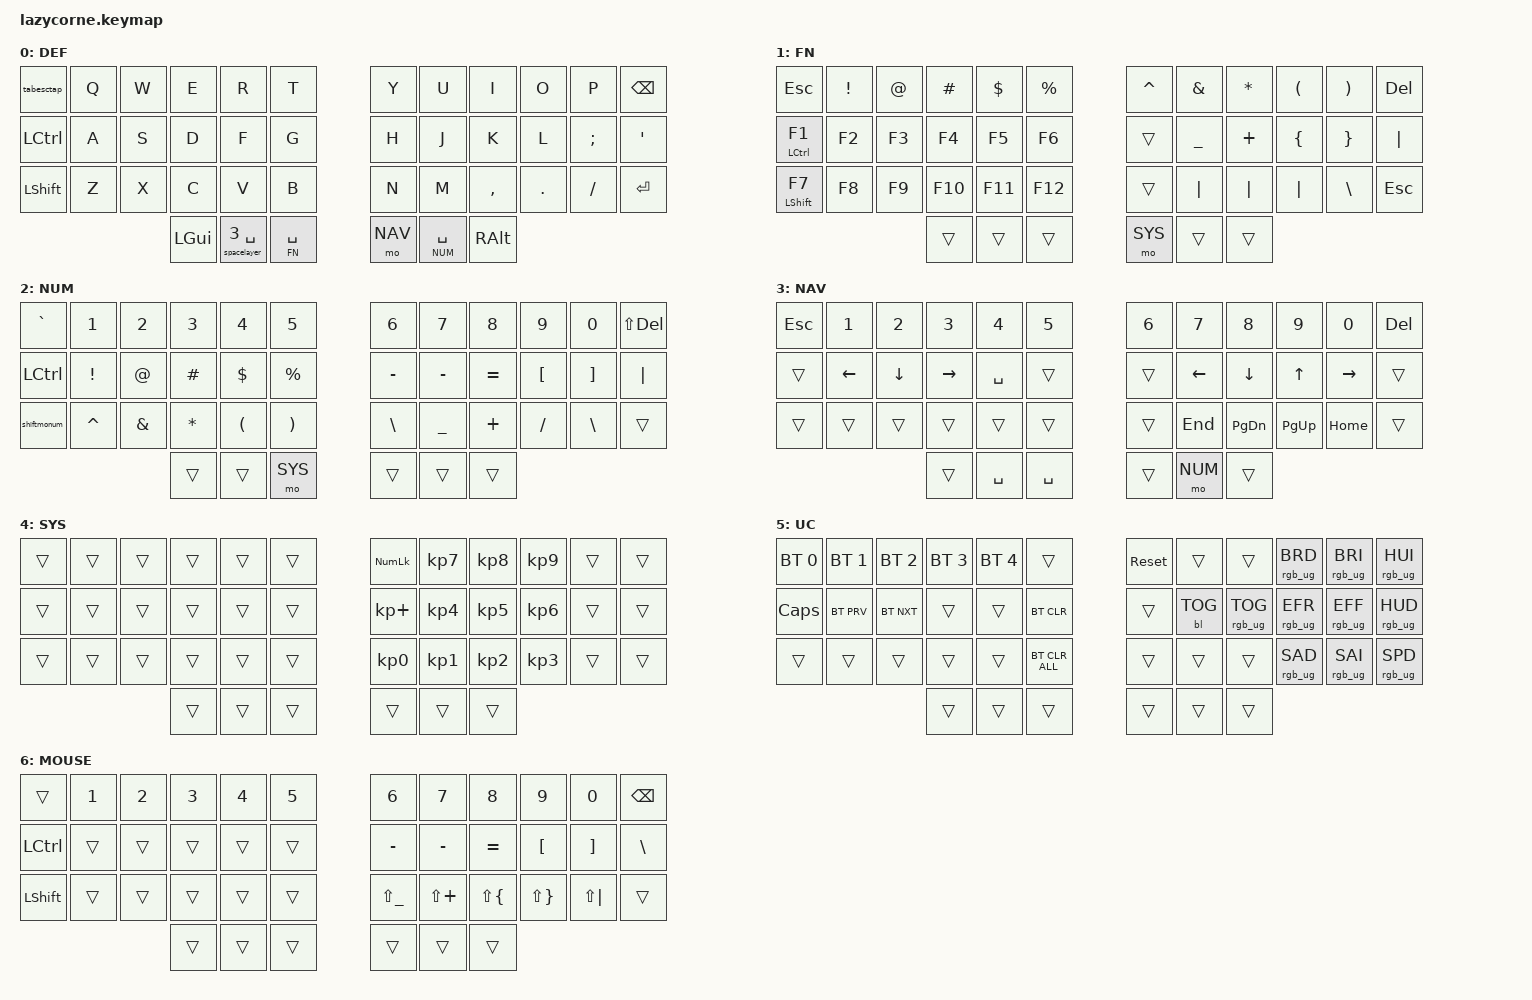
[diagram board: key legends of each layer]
#include <dt-bindings/zmk/outputs.h>
#include <behaviors.dtsi>
#include <dt-bindings/zmk/keys.h>

#define CONFIG_WIRELESS 1

#if CONFIG_WIRELESS
    #include <dt-bindings/zmk/bt.h>
    #define _BT_SEL_KEYS_ &bt BT_SEL 0 &bt BT_SEL 1 &bt BT_SEL 2 &bt BT_SEL 3 &bt BT_CLR
#else
    #define _BT_SEL_KEYS_ &trans &trans &trans &trans &trans
#endif

#define HOST_OS 1
#include "zmk-helpers/helper.h"
#include "zmk-helpers/key-labels/42.h"
#include "zmk-helpers/unicode-chars/greek.dtsi"
#include "zmk-helpers/unicode-chars/german.dtsi"

/* layer and key shortcuts */
#define DEF 0
#define NAV 1
#define FN 2
#define NUM 3
#define SYS 4
#define UC 5
#define MOUSE 6
#define MOUSEVS 7
#define MOUSEHS 8

#include "mouse.dtsi"
#include "combos.dtsi"

#define XXX &none
#define ___ &trans


/* Global settings */


/{
  cirque_mmv {
    compatible = "zmk,input-behavior-listener";
    device = <&vtrackpad>;
    layers= <DEF MOUSE>;
    evt-type = <INPUT_EV_REL>;
    x-input-code = <INPUT_REL_X>;
    y-input-code = <INPUT_REL_Y>;
    scale-multiplier = <2>;
    scale-divisor = <1>;
    bindings = <&ib_tog_layer MOUSE>;
    y-invert;
  }; 
  cirque_scl {
    compatible = "zmk,input-behavior-listener";
    device = <&vtrackpad>;
    layers = <MOUSEVS>;
    evt-type = <INPUT_EV_REL>;
    
    /* slienting x-axis with alt event code */
    x-input-code = <INPUT_REL_MISC>;
    y-input-code = <INPUT_REL_WHEEL>;

    /* invent scrolling direction */
    y-invert;
    bindings = <&ib_wheel_scaler 1 16>;
  };
  cirque_hscl {
    compatible = "zmk,input-behavior-listener";
    device = <&vtrackpad>;
    layers = <MOUSEHS>;
    evt-type = <INPUT_EV_REL>;
    
    /* slienting x-axis with alt event code */
    x-input-code = <INPUT_REL_HWHEEL>;
    y-input-code = <INPUT_REL_MISC>;

    /* invent scrolling direction */
    // y-invert;
    x-invert;
    bindings = <&ib_hwheel_scaler 1 16>;
  };
  // 아직 기능이 완벽하지 않음 터치를 하는동안 인식하는것이 아니라 움직임이 나타나야 인지함
  ib_tog_layer: ib_tog_layer {
    compatible = "zmk,input-behavior-tog-layer";
    #binding-cells = <1>;
    time-to-live-ms = <2500>;
  };
  ib_wheel_scaler: ib_wheel_scaler {
    compatible = "zmk,input-behavior-scaler";
    #binding-cells = <2>;
    evt-type = <INPUT_EV_REL>;
    input-code = <INPUT_REL_WHEEL>;
  };

  ib_hwheel_scaler: ib_hwheel_scaler {
    compatible = "zmk,input-behavior-scaler";
    #binding-cells = <2>;
    evt-type = <INPUT_EV_REL>;
    input-code = <INPUT_REL_HWHEEL>;
  };
  
};


// smart-mouse, requires PR #1366
ZMK_TRI_STATE(smart_mouse,
    bindings = <&ib_tog_layer MOUSE>, <&ib_tog_layer MOUSE>, <&to DEF>;
    ignored-key-positions = <LT1 LT2 LM1 LM2 LM3 LM4 LH0 LH1 LH2>;
    ignored-layers = <MOUSE MOUSEVS MOUSEHS>;
)

/* Custom behaviors */

// Alt+Tab swapper, requires PR #1366
ZMK_BEHAVIOR(tabesctap, tap_dance,
    tapping-term-ms = <170>;
    bindings = <&kp TAB>, <&kp ESCAPE>;
)

ZMK_BEHAVIOR(spacelayer, hold_tap,
    flavor = "tap-preferred";
    tapping-term-ms = <400>;
    bindings = <&mo>, <&kp>;
)

ZMK_BEHAVIOR(shiftmonum, tap_dance,
    tapping-term-ms = <250>;
    bindings = <&kp LEFT_SHIFT>, <&mo 3>;
)

ZMK_MACRO(tog_mousev,
    wait-ms = <0>;
    tap-ms = <1>;
    bindings = <&smart_mouse>
             , <&macro_press &mo MOUSEVS>
             , <&macro_pause_for_release>
             , <&macro_release &mo MOUSEVS>;
)

ZMK_MACRO(tog_mouseh,
    wait-ms = <0>;
    tap-ms = <1>;
    bindings = <&smart_mouse>
             , <&macro_press &mo MOUSEHS>
             , <&macro_pause_for_release>
             , <&macro_release &mo MOUSEHS>;
)


// reuse basic mod-morph scheme
/* Keymap */

ZMK_CONDITIONAL_LAYER(FN NUM, SYS)  // FN + NUM --> SYS
// ZMK_CONDITIONAL_LAYER(NAV FN, MOUSE)  // FN + NUM --> SYS

/* keymap */

ZMK_LAYER(DEF,
    &tabesctap      &kp Q  &kp W  &kp E     &kp R                &kp T          &kp Y  &kp U        &kp I      &kp O    &kp P     &kp BSPC
    &kp LCTRL       &kp A  &kp S  &kp D     &kp F                &kp G          &kp H  &kp J        &kp K      &kp L    &kp SEMI  &kp SQT
    &kp LEFT_SHIFT  &kp Z  &kp X  &kp C     &kp V                &kp B          &kp N  &kp M        &kp COMMA  &kp DOT  &kp FSLH  &kp RET
                  &kp LGUI  &spacelayer 3 SPACE  &lt FN SPACE    &mo NAV  &lt NUM SPACE  &kp RALT
)

ZMK_LAYER(FN,
    &kp ESC              &kp EXCLAMATION  &kp AT_SIGN  &kp HASH  &kp DOLLAR  &kp PERCENT    &kp CARET  &kp AMPS        &kp ASTRK  &kp LEFT_PARENTHESIS  &kp RIGHT_PARENTHESIS  &kp DEL
    &mt LEFT_CONTROL F1  &kp F2           &kp F3       &kp F4    &kp F5      &kp F6         &trans     &kp UNDERSCORE  &kp PLUS   &kp LEFT_BRACE        &kp RIGHT_BRACE        &kp PIPE
    &mt LEFT_SHIFT F7    &kp F8           &kp F9       &kp F10   &kp F11     &kp F12        &trans     &kp PIPE        &kp PIPE   &kp PIPE              &kp BACKSLASH          &kp ESCAPE
                      &trans    &trans      &trans         &mo SYS      &trans          &trans
)

ZMK_LAYER(NUM,
    &kp GRAVE    &kp N1           &kp N2         &kp N3        &kp N4                &kp N5                   &kp N6     &kp N7     &kp N8     &kp N9    &kp N0         &kp LS(DEL)
    &kp LCTRL    &kp EXCLAMATION  &kp AT         &kp HASH      &kp DOLLAR            &kp PERCENT              &kp MINUS  &kp MINUS  &kp EQUAL  &kp LBKT  &kp RBKT       &kp PIPE
    &shiftmonum  &kp CARET        &kp AMPERSAND  &kp ASTERISK  &kp LEFT_PARENTHESIS  &kp RIGHT_PARENTHESIS    &kp BSLH   &kp UNDER  &kp PLUS   &kp FSLH  &kp BACKSLASH  &trans
                  &trans        &trans                &mo SYS                    &trans     &trans     &trans
)

ZMK_LAYER(NAV,
    &kp ESCAPE  &kp NUMBER_1  &kp NUMBER_2  &kp NUMBER_3  &kp NUMBER_4  &kp N5       &kp NUMBER_6  &kp N7          &kp N8         &kp N9       &kp N0     &kp DEL
    &trans      &kp LEFT      &kp DOWN      &kp RIGHT     &kp SPACE     &trans       &trans        &kp LEFT_ARROW  &kp DOWN       &kp UP       &kp RIGHT  &trans
    &trans      &trans        &trans        &trans        &trans        &trans       &trans        &kp END         &kp PAGE_DOWN  &kp PAGE_UP  &kp HOME   &trans
                  &trans        &kp SPACE     &kp SPACE    &trans        &mo NUM           &trans
)

ZMK_LAYER(SYS,
    &trans  &trans  &trans  &trans  &trans  &trans    &kp KP_NUMLOCK   &kp KP_N7        &kp KP_NUMBER_8  &kp KP_NUMBER_9  &trans  &trans
    &trans  &trans  &trans  &trans  &trans  &trans    &kp KP_PLUS      &kp KP_NUMBER_4  &kp KP_NUMBER_5  &kp KP_NUMBER_6  &trans  &trans
    &trans  &trans  &trans  &trans  &trans  &trans    &kp KP_NUMBER_0  &kp KP_NUMBER_1  &kp KP_NUMBER_2  &kp KP_NUMBER_3  &trans  &trans
              &trans  &trans  &trans    &trans           &trans           &trans
)

ZMK_LAYER(UC,
    &bt BT_SEL 0  &bt BT_SEL 1  &bt BT_SEL 2  &bt BT_SEL 3  &bt BT_SEL 4  &trans            &sys_reset  &trans      &trans           &rgb_ug RGB_BRD  &rgb_ug RGB_BRI  &rgb_ug RGB_HUI
    &kp CAPSLOCK  &bt BT_PRV    &bt BT_NXT    &trans        &trans        &bt BT_CLR        &trans      &bl BL_TOG  &rgb_ug RGB_TOG  &rgb_ug RGB_EFR  &rgb_ug RGB_EFF  &rgb_ug RGB_HUD
    &trans        &trans        &trans        &trans        &trans        &bt BT_CLR_ALL    &trans      &trans      &trans           &rgb_ug RGB_SAD  &rgb_ug RGB_SAI  &rgb_ug RGB_SPD
                  &trans        &trans        &trans            &trans      &trans      &trans
)

ZMK_LAYER(MOUSE,
    &trans     &kp N1  &kp N2  &kp N3  &kp N4  &kp N5    &kp N6         &kp N7        &kp N8        &kp N9        &kp N0        &kp BSPC
    &kp LCTRL  &trans  &trans  &trans  &trans  &trans    &kp MINUS      &kp MINUS     &kp EQUAL     &kp LBKT      &kp RBKT      &kp BSLH
    &kp LSHFT  &trans  &trans  &trans  &trans  &trans    &kp LS(UNDER)  &kp LS(PLUS)  &kp LS(LBRC)  &kp LS(RBRC)  &kp LS(PIPE)  &trans
              &trans  &trans  &trans    &trans         &trans        &trans
)
// &usbd {
// 	status = "okay";
// 	cdc_acm_uart: cdc_acm_uart {
// 		compatible = "zephyr,cdc-acm-uart";
// 		label = "CDC_ACM_0";
// 	};
// };
